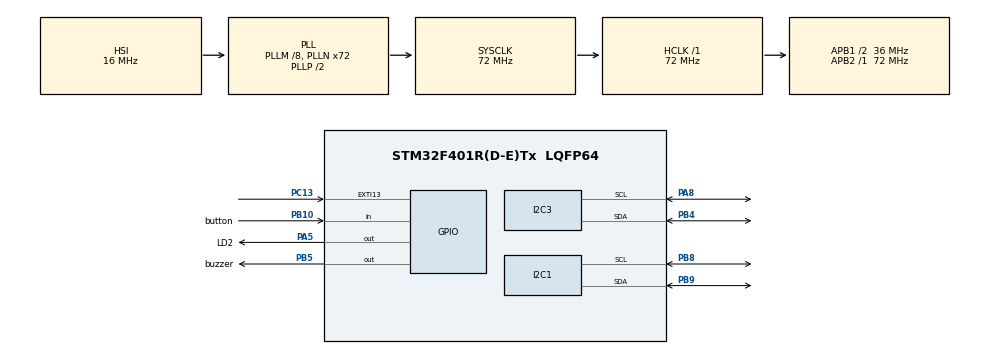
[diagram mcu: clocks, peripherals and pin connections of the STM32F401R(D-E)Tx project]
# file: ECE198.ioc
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Mcu.Family=STM32F4
Mcu.Name=STM32F401R(D-E)Tx
Mcu.Package=LQFP64
NVIC.EXTI15_10_IRQn=true\:0\:0\:false\:false\:true\:true\:true\:true
NVIC.I2C1_EV_IRQn=true\:0\:0\:false\:false\:true\:true\:true\:true
NVIC.PriorityGroup=NVIC_PRIORITYGROUP_4
PA13.Mode=Serial_Wire
PA13.Signal=SYS_JTMS-SWDIO
PA14.Mode=Serial_Wire
PA14.Signal=SYS_JTCK-SWCLK
PA5.GPIO_Label=LD2
PA5.Signal=GPIO_Output
PA8.Mode=I2C
PA8.Signal=I2C3_SCL
PB10.GPIO_Label=button
PB10.GPIO_PuPd=GPIO_PULLUP
PB10.Signal=GPIO_Input
PB4.Mode=I2C
PB4.Signal=I2C3_SDA
PB5.GPIO_Label=buzzer
PB5.Signal=GPIO_Output
PB8.GPIO_Pu=GPIO_PULLUP
PB8.Mode=I2C
PB8.Signal=I2C1_SCL
PB9.GPIO_Pu=GPIO_PULLUP
PB9.Mode=I2C
PB9.Signal=I2C1_SDA
PC13-ANTI_TAMP.GPIO_ModeDefaultEXTI=GPIO_MODE_IT_FALLING
PC13-ANTI_TAMP.GPIO_PuPd=GPIO_NOPULL
PC13-ANTI_TAMP.Signal=GPXTI13
PC14-OSC32_IN.Mode=LSE-External-Oscillator
PC14-OSC32_IN.Signal=RCC_OSC32_IN
PC15-OSC32_OUT.Mode=LSE-External-Oscillator
PC15-OSC32_OUT.Signal=RCC_OSC32_OUT
PH0\ -\ OSC_IN.Mode=HSE-External-Oscillator
PH0\ -\ OSC_IN.Signal=RCC_OSC_IN
PH1\ -\ OSC_OUT.Mode=HSE-External-Oscillator
PH1\ -\ OSC_OUT.Signal=RCC_OSC_OUT
ProjectManager.HeapSize=0x200
ProjectManager.StackSize=0x400
ProjectManager.TargetToolchain=STM32CubeIDE
RCC.48MHZClocksFreq_Value=36000000
RCC.AHBFreq_Value=72000000
RCC.APB1CLKDivider=RCC_HCLK_DIV2
RCC.APB1Freq_Value=36000000
RCC.APB1TimFreq_Value=72000000
RCC.APB2Freq_Value=72000000
RCC.APB2TimFreq_Value=72000000
RCC.CortexFreq_Value=72000000
RCC.HCLKFreq_Value=72000000
RCC.HSE_VALUE=25000000
RCC.HSI_VALUE=16000000
RCC.PLLM=8
RCC.PLLN=72
RCC.SYSCLKFreq_VALUE=72000000
RCC.SYSCLKSource=RCC_SYSCLKSOURCE_PLLCLK
RCC.VCOOutputFreq_Value=144000000
board=custom

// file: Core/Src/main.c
/* USER CODE BEGIN Header */
/**
  ******************************************************************************
  * @file           : main.c
  * @brief          : Main program body
  ******************************************************************************
  * @attention
  *
  * Copyright (c) 2023 STMicroelectronics.
  * All rights reserved.
  *
  * This software is licensed under terms that can be found in the LICENSE file
  * in the root directory of this software component.
  * If no LICENSE file comes with this software, it is provided AS-IS.
  *
  ******************************************************************************
  */
/* USER CODE END Header */
#include "main.h"
#include "i2c.h"
#include "gpio.h"

/* USER CODE BEGIN Includes */
#include "stm32f4xx_hal.h"
#include <stdio.h>
#include <string.h>
#include <math.h>
#include "MPU6050.h"
#include "liquidcrystal_i2c.h"
/* USER CODE END Includes */

/* USER CODE BEGIN PD */

// MPU6050 I2C address
#define MPU6050_ADDR 0x68

/* USER CODE END PD */

void SystemClock_Config(void);

int main(void)
{

    /* MCU Configuration--------------------------------------------------------*/

    /* Reset of all peripherals, Initializes the Flash interface and the Systick. */
    HAL_Init();

    /* Configure the system clock */
    SystemClock_Config();

    /* USER CODE BEGIN SysInit */
    MPU6050_init();
    /* USER CODE END SysInit */

    /* Initialize all configured peripherals */
    MX_GPIO_Init();
    MX_I2C1_Init();
    MX_I2C3_Init();

    /* USER CODE BEGIN 2 */
    char buf[4];
    _Bool activation_state = 0;

    float A[3]; // To store the accelerometer data (x, y, z)
    float G[3]; // gyroscope

    float accel;
    float gyro;
    float angle;

    /* USER CODE END 2 */

    /* Infinite loop */
    /* USER CODE BEGIN WHILE */

    long lastPrintTime = 0;

    float maxAccel = 0;
    float maxGyro = 0;

    while (1) {
        //processing data from sensor
        MPU6050_Read_Accel(A, A + 1, A + 2);
        MPU6050_Read_Gyro(G, G + 1, G + 2);

        //update current data
        accel = sqrt(A[0] * A[0] + A[1] * A[1] + A[2] * A[2]);
        angle = atan(sqrt(A[1] * A[1] + A[2] * A[2]) / A[0]) * (180 / M_PI);
        gyro = sqrt(G[0] * G[0] + G[1] * G[1] + G[2] * G[2]);

        //Triggering Alert
        if (accel > 300 && (angle > 30 || angle < -30)) {
            activation_state = 1;
        }

        //turn on/off the alert
        if (activation_state) {
            //HAL_GPIO_WritePin(buzzer_GPIO_Port, buzzer_Pin, 1);
            HAL_GPIO_WritePin(LD2_GPIO_Port, LD2_Pin, 1);
        } else {
            //HAL_GPIO_WritePin(buzzer_GPIO_Port, buzzer_Pin, 0);
            HAL_GPIO_WritePin(LD2_GPIO_Port, LD2_Pin, 0);
        }

        //Read Button Input
        if (HAL_GPIO_ReadPin(button_GPIO_Port, button_Pin) == 0) {
            activation_state = 0;
        }

        /* USER CODE END WHILE */

    }
}

void SystemClock_Config(void)
{
    RCC_OscInitTypeDef RCC_OscInitStruct = {0};
    RCC_ClkInitTypeDef RCC_ClkInitStruct = {0};

    /** Configure the main internal regulator output voltage
    */
    __HAL_RCC_PWR_CLK_ENABLE();
    __HAL_PWR_VOLTAGESCALING_CONFIG(PWR_REGULATOR_VOLTAGE_SCALE2);

    /** Initializes the RCC Oscillators according to the specified parameters
    * in the RCC_OscInitTypeDef structure.
    */
    RCC_OscInitStruct.OscillatorType = RCC_OSCILLATORTYPE_HSI;
    RCC_OscInitStruct.HSIState = RCC_HSI_ON;
    RCC_OscInitStruct.HSICalibrationValue = RCC_HSICALIBRATION_DEFAULT;
    RCC_OscInitStruct.PLL.PLLState = RCC_PLL_ON;
    RCC_OscInitStruct.PLL.PLLSource = RCC_PLLSOURCE_HSI;
    RCC_OscInitStruct.PLL.PLLM = 8;
    RCC_OscInitStruct.PLL.PLLN = 72;
    RCC_OscInitStruct.PLL.PLLP = RCC_PLLP_DIV2;
    RCC_OscInitStruct.PLL.PLLQ = 4;
    if (HAL_RCC_OscConfig(&RCC_OscInitStruct) != HAL_OK)
    {
        Error_Handler();
    }

    /** Initializes the CPU, AHB and APB buses clocks
    */
    RCC_ClkInitStruct.ClockType = RCC_CLOCKTYPE_HCLK|RCC_CLOCKTYPE_SYSCLK
                                  |RCC_CLOCKTYPE_PCLK1|RCC_CLOCKTYPE_PCLK2;
    RCC_ClkInitStruct.SYSCLKSource = RCC_SYSCLKSOURCE_PLLCLK;
    RCC_ClkInitStruct.AHBCLKDivider = RCC_SYSCLK_DIV1;
    RCC_ClkInitStruct.APB1CLKDivider = RCC_HCLK_DIV2;
    RCC_ClkInitStruct.APB2CLKDivider = RCC_HCLK_DIV1;

    if (HAL_RCC_ClockConfig(&RCC_ClkInitStruct, FLASH_LATENCY_2) != HAL_OK)
    {
        Error_Handler();
    }
}

void Error_Handler(void)
{
    __disable_irq();
    while (1) {
    }
}
